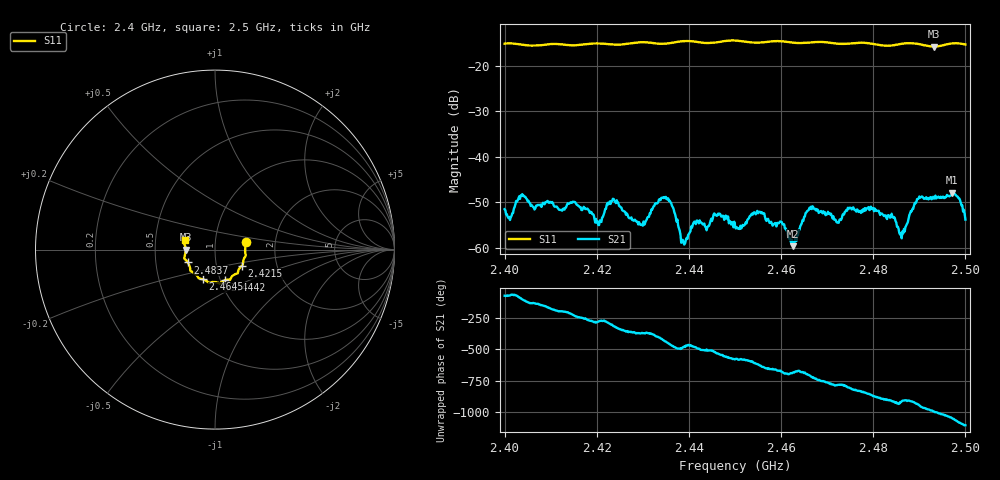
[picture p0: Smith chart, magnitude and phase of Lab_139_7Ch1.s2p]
# Hz S RI R
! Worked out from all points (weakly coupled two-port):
!   601 points, 2.4 GHz to 2.5 GHz, reference 50 ohm
!   highest |S21| = -47.88 dB at 2.4972 GHz (marker M1); lowest = -59.6 dB at 2.4627 GHz (marker M2)
!   lowest |S11| = -15.7 dB at 2.4932 GHz (marker M3), VSWR 1.39, Z = 35.9 - j0.0445 ohm
!   |S11| at or under -10 dB: start of sweep to end of sweep
!   S12 and S22 are empty: the file has one direction only
!   S11 on the Smith chart (normalised r, x): 2.4 GHz: 1.41, +0.12; 2.4215 GHz: 1.33, -0.25; 2.4442 GHz: 1.05, -0.37; 2.4645 GHz: 0.83, -0.29; 2.4837 GHz: 0.73, -0.11; 2.5 GHz: 0.71, +0.07
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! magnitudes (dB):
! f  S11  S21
! 2.4 GHz  -15.1  -51.5
! 2.404 GHz  -15.4  -48.6
! 2.4167 GHz  -15.3  -51.7
! 2.4215 GHz  -15.1  -52.7
! 2.4238 GHz  -15.3  -49.6
! 2.43 GHz  -14.8  -55.1
! 2.4333 GHz  -15.1  -50.0
! 2.436 GHz  -15.0  -50.0
! 2.4388 GHz  -14.5  -58.9
! 2.4442 GHz  -15.0  -55.3
! 2.45 GHz  -14.4  -55.0
! 2.4558 GHz  -14.8  -52.2
! 2.4627 GHz  -14.9  -59.6
! 2.4645 GHz  -15.0  -54.6
! 2.4667 GHz  -14.8  -51.5
! 2.4833 GHz  -15.6  -52.8
! 2.4837 GHz  -15.5  -53.4
! 2.4863 GHz  -15.1  -56.4
! 2.4895 GHz  -15.1  -49.3
! 2.4932 GHz  -15.7  -49.2
! 2.4972 GHz  -15.0  -47.9
! 2.5 GHz  -15.3  -53.8
